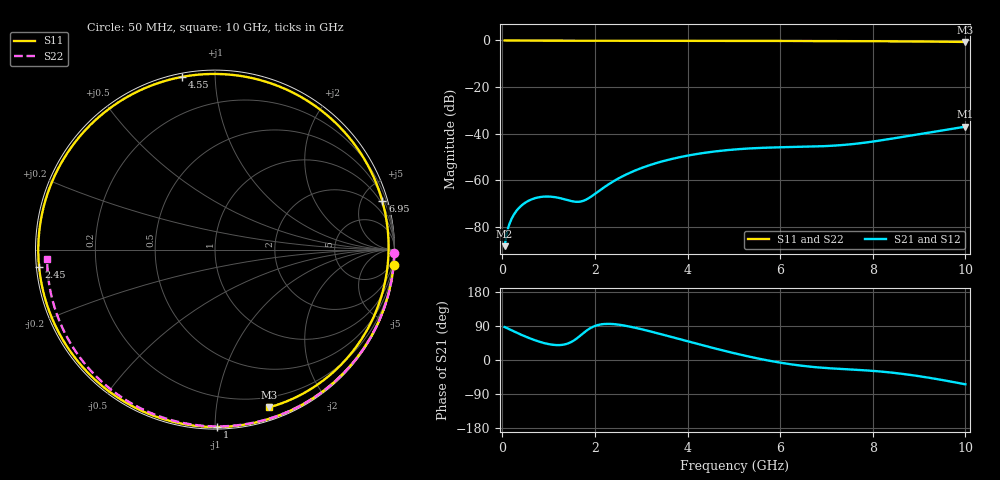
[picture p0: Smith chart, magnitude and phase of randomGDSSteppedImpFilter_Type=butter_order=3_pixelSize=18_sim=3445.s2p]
! freq	dB(S11)	phase(S11)	dB(S12)	phase(S12)
!  dB(S21)	phase(S21)	dB(S22)	phase(S22)
!S-par simulation data
#  GHz  S  DB  R 50
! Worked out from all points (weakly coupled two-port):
!   200 points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, 50 MHz to 10 GHz, reference 50 ohm
!   highest |S21| = -37.05 dB at 10 GHz (marker M1); lowest = -88.4 dB at 50 MHz (marker M2)
!   lowest |S11| = -0.6 dB at 10 GHz (marker M3), VSWR 27.19, Z = 5.42 - j69.7 ohm
!   |S11| at or under -10 dB: nowhere
!   |S22| runs from -0.6 to 0.0 dB; largest |S21 - S12| = 0
!   S11 on the Smith chart (normalised r, x): 50 MHz: 0, -23; 1 GHz: 0.01, -1.01; 2.45 GHz: 0.01, -0.05; 4.55 GHz: 0.02, +0.83; 6.95 GHz: 0.75, +6.98; 10 GHz: 0.11, -1.39
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0.05  -0.00 -4.9  -88.38 87.0  -88.38 87.0  -0.00 -1.0
0.15  -0.02 -14.7  -79.03 81.2  -79.03 81.2  -0.00 -3.1
0.3  -0.04 -29.1  -73.35 72.6  -73.35 72.6  -0.01 -6.2
0.55  -0.07 -52.1  -69.05 59.3  -69.05 59.3  -0.01 -11.4
0.75  -0.08 -69.4  -67.54 50.3  -67.54 50.3  -0.02 -15.5
1  -0.10 -89.2  -67.07 41.9  -67.07 41.9  -0.03 -20.6
1.35  -0.11 -114.0  -68.27 41.2  -68.27 41.2  -0.04 -27.7
1.75  -0.12 -138.4  -68.90 70.9  -68.90 70.9  -0.05 -35.7
2.1  -0.13 -157.2  -64.51 93.3  -64.51 93.3  -0.05 -42.6
2.45  -0.13 -174.2  -59.94 94.2  -59.94 94.2  -0.06 -49.4
2.9  -0.14 165.7  -55.62 84.2  -55.62 84.2  -0.07 -58.0
3.4  -0.15 145.0  -52.26 69.0  -52.26 69.0  -0.09 -67.3
4  -0.16 121.5  -49.48 49.4  -49.48 49.4  -0.11 -78.2
4.55  -0.18 100.8  -47.79 31.8  -47.79 31.8  -0.13 -87.9
5.05  -0.19 82.4  -46.79 16.7  -46.79 16.7  -0.15 -96.6
5.8  -0.21 55.4  -46.00 -2.7  -46.00 -2.7  -0.18 -109.1
6.7  -0.25 24.4  -45.59 -18.2  -45.59 -18.2  -0.24 -123.8
6.95  -0.26 16.1  -45.42 -20.8  -45.42 -20.8  -0.26 -127.8
7.6  -0.30 -4.6  -44.45 -25.6  -44.45 -25.6  -0.31 -138.1
8.35  -0.37 -27.1  -42.38 -32.5  -42.38 -32.5  -0.38 -150.0
9.2  -0.48 -50.6  -39.59 -46.5  -39.59 -46.5  -0.47 -163.7
10  -0.64 -71.1  -37.05 -64.2  -37.05 -64.2  -0.57 -176.9
